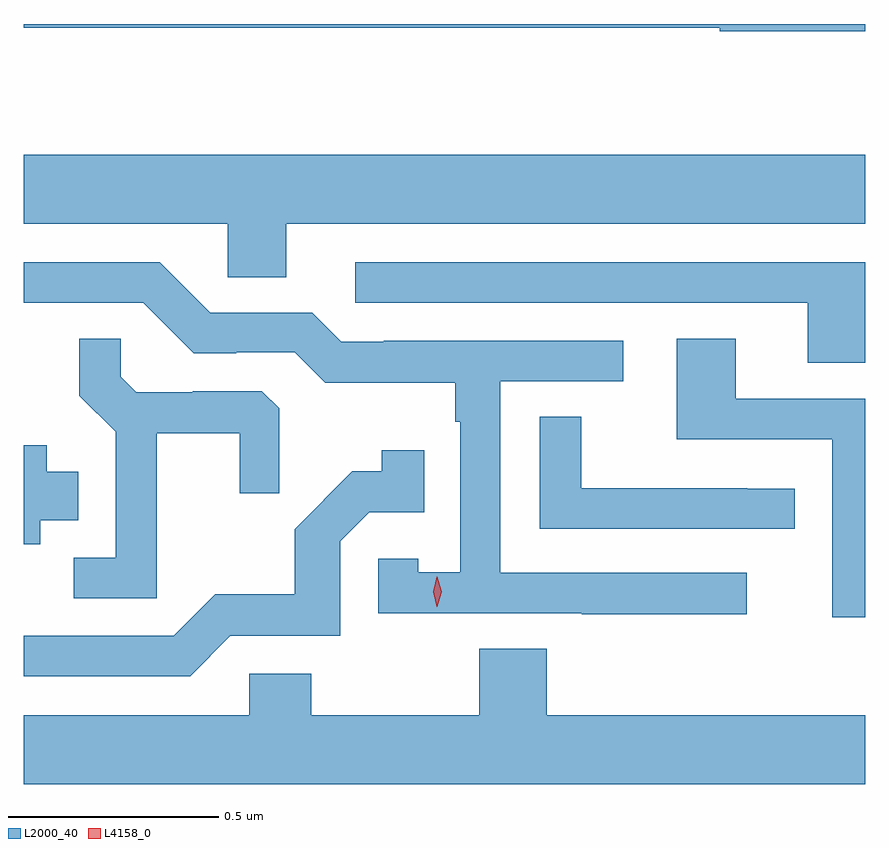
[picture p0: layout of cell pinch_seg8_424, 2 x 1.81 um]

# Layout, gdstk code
import gdstk
lib = gdstk.Library(unit=1e-6, precision=1e-09)
def P(c, l, *ps):  # polygons
    for p in ps: c.add(gdstk.Polygon(p, *l))
L2000_40 = (2000, 40)
L4158_0 = (4158, 0)

pinch_seg8_424 = lib.new_cell('pinch_seg8_424')
P(pinch_seg8_424, L2000_40, [(363.051,1162.263),(361.051,1162.263),(361.051,1162.254),(362.706,1162.254),(362.706,1162.246),(363.051,1162.246)],
  [(361.675,1161.788),(363.051,1161.788),(363.051,1161.952),(361.051,1161.952),(361.051,1161.788),(361.536,1161.788),(361.536,1161.661),(361.675,1161.661)],
  [(362.77,1160.958),(362.184,1160.958),(362.184,1161.414),(362.476,1161.414),(362.476,1161.51),(361.906,1161.51),(361.906,1161.507),(361.806,1161.507),(361.737,1161.576),(361.494,1161.576),(361.374,1161.696),(361.051,1161.696),(361.051,1161.6),(361.335,1161.6),(361.455,1161.48),(361.556,1161.48),(361.556,1161.483),(361.695,1161.483),(361.768,1161.41),(362.076,1161.41),(362.076,1161.317),(362.088,1161.317),(362.088,1160.959),(361.989,1160.959),(361.989,1160.991),(361.893,1160.991),(361.893,1160.862),(362.377,1160.862),(362.377,1160.86),(362.77,1160.86)],
  [(363.051,1161.696),(361.839,1161.696),(361.839,1161.6),(362.915,1161.6),(362.915,1161.457),(363.051,1161.457)],
  [(363.051,1161.372),(362.743,1161.372),(362.743,1161.515),(362.603,1161.515),(362.603,1161.276),(362.973,1161.276),(362.973,1160.853),(363.051,1160.853)],
  [(361.367,1161.29),(361.564,1161.29),(361.564,1161.147),(361.658,1161.147),(361.658,1161.349),(361.617,1161.39),(361.452,1161.39),(361.452,1161.387),(361.318,1161.387),(361.281,1161.424),(361.281,1161.515),(361.183,1161.515),(361.183,1161.379),(361.269,1161.293),(361.269,1160.994),(361.17,1160.994),(361.17,1160.898),(361.367,1160.898)],
  [(362.884,1161.158),(362.771,1161.158),(362.771,1161.159),(362.376,1161.159),(362.376,1161.329),(362.277,1161.329),(362.277,1161.063),(362.884,1161.063)],
  [(361.09,1161.083),(361.18,1161.083),(361.18,1161.199),(361.105,1161.199),(361.105,1161.262),(361.051,1161.262),(361.051,1161.026),(361.09,1161.026)],
  [(361.542,1160.808),(361.803,1160.808),(361.803,1161.033),(361.872,1161.102),(362.003,1161.102),(362.003,1161.25),(361.902,1161.25),(361.902,1161.2),(361.832,1161.2),(361.695,1161.062),(361.695,1160.907),(361.506,1160.907),(361.407,1160.808),(361.051,1160.808),(361.051,1160.712),(361.446,1160.712)],
  [(363.051,1160.62),(362.294,1160.62),(362.294,1160.777),(362.134,1160.777),(362.134,1160.62),(361.734,1160.62),(361.734,1160.718),(361.587,1160.718),(361.587,1160.62),(361.051,1160.62),(361.051,1160.456),(363.051,1160.456)])
P(pinch_seg8_424, L4158_0, [(362.033,1160.877),(362.024,1160.913),(362.033,1160.949),(362.034,1160.949),(362.034,1160.949),(362.044,1160.913),(362.034,1160.877),(362.034,1160.877)])

lib.write_gds('pinch_seg8_424.gds')
